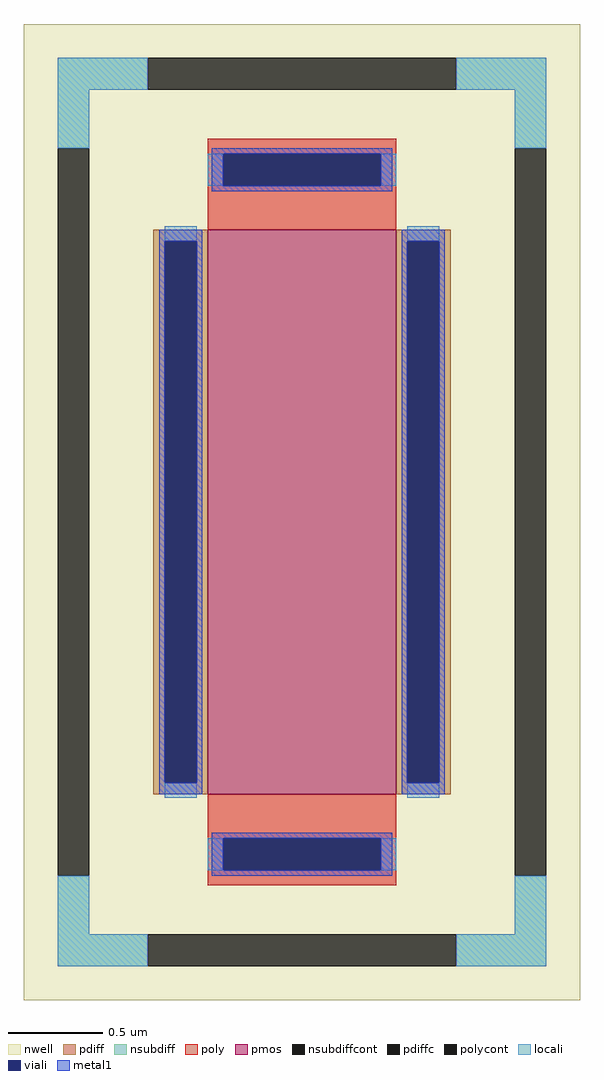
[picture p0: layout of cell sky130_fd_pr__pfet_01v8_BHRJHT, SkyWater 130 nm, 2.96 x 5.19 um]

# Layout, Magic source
magic
tech sky130A
magscale 1 2
<< nwell >>
rect -296 -519 296 519
<< pmos >>
rect -100 -300 100 300
<< pdiff >>
rect -158 288 -100 300
rect -158 -288 -146 288
rect -112 -288 -100 288
rect -158 -300 -100 -288
rect 100 288 158 300
rect 100 -288 112 288
rect 146 -288 158 288
rect 100 -300 158 -288
<< pdiffc >>
rect -146 -288 -112 288
rect 112 -288 146 288
<< nsubdiff >>
rect -260 449 -164 483
rect 164 449 260 483
rect -260 387 -226 449
rect 226 387 260 449
rect -260 -449 -226 -387
rect 226 -449 260 -387
rect -260 -483 -164 -449
rect 164 -483 260 -449
<< nsubdiffcont >>
rect -164 449 164 483
rect -260 -387 -226 387
rect 226 -387 260 387
rect -164 -483 164 -449
<< poly >>
rect -100 381 100 397
rect -100 347 -84 381
rect 84 347 100 381
rect -100 300 100 347
rect -100 -347 100 -300
rect -100 -381 -84 -347
rect 84 -381 100 -347
rect -100 -397 100 -381
<< polycont >>
rect -84 347 84 381
rect -84 -381 84 -347
<< locali >>
rect -260 449 -164 483
rect 164 449 260 483
rect -260 387 -226 449
rect 226 387 260 449
rect -100 347 -84 381
rect 84 347 100 381
rect -146 288 -112 304
rect -146 -304 -112 -288
rect 112 288 146 304
rect 112 -304 146 -288
rect -100 -381 -84 -347
rect 84 -381 100 -347
rect -260 -449 -226 -387
rect 226 -449 260 -387
rect -260 -483 -164 -449
rect 164 -483 260 -449
<< viali >>
rect -84 347 84 381
rect -146 -288 -112 288
rect 112 -288 146 288
rect -84 -381 84 -347
<< metal1 >>
rect -96 381 96 387
rect -96 347 -84 381
rect 84 347 96 381
rect -96 341 96 347
rect -152 288 -106 300
rect -152 -288 -146 288
rect -112 -288 -106 288
rect -152 -300 -106 -288
rect 106 288 152 300
rect 106 -288 112 288
rect 146 -288 152 288
rect 106 -300 152 -288
rect -96 -347 96 -341
rect -96 -381 -84 -347
rect 84 -381 96 -347
rect -96 -387 96 -381
<< properties >>
string gencell sky130_fd_pr__pfet_01v8
string FIXED_BBOX -243 -466 243 466
string parameters w 3 l 1 m 1 nf 1 diffcov 100 polycov 100 guard 1 glc 1 grc 1 gtc 1 gbc 1 tbcov 100 rlcov 100 topc 1 botc 1 poverlap 1 doverlap 1 lmin 0.15 wmin 0.42 compatible {sky130_fd_pr__pfet_01v8  sky130_fd_pr__pfet_01v8_lvt sky130_fd_pr__pfet_01v8_hvt  sky130_fd_pr__pfet_g5v0d10v5} full_metal 1 viagl 0 viagr 0 viagt 0 viagb 0 viagate 100 viadrn 100 viasrc 100
string library sky130
<< end >>
